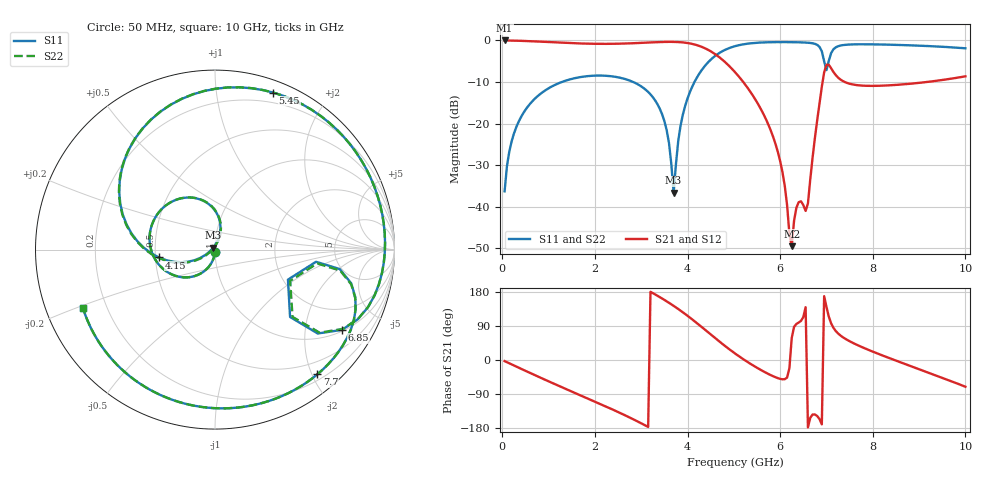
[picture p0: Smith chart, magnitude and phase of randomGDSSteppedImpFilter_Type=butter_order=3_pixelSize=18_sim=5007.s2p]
! freq	dB(S11)	phase(S11)	dB(S12)	phase(S12)
!  dB(S21)	phase(S21)	dB(S22)	phase(S22)
!S-par simulation data
#  GHz  S  DB  R 50
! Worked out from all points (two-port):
!   200 points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, 50 MHz to 10 GHz, reference 50 ohm
!   highest |S21| = 0.00 dB at 50 MHz (marker M1); lowest = -49.5 dB at 6.25 GHz (marker M2)
!   |S21| within 3 dB of the highest: start of sweep to 4.557 GHz
!   lowest |S11| = -36.6 dB at 3.7 GHz (marker M3), VSWR 1.03, Z = 48.9 + j0.986 ohm
!   |S11| at or under -10 dB: start of sweep to 1.285 GHz; 2.827 GHz to 4.15 GHz (1.323 GHz wide, 37.9 % of centre)
!   |S22| runs from -38.7 to -0.4 dB; largest |S21 - S12| = 0
!   S11 on the Smith chart (normalised r, x): 50 MHz: 1.00, -0.03; 4.15 GHz: 0.52, -0.05; 5.45 GHz: 0.11, +1.43; 6.85 GHz: 1.05, -3.13; 7.7 GHz: 0.29, -2.08; 10 GHz: 0.11, -0.21
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0.05  -36.29 -92.7  -0.00 -2.9  -0.00 -2.9  -36.29 -92.7
0.2  -24.35 -101.7  -0.03 -11.5  -0.03 -11.5  -24.35 -101.7
0.5  -16.69 -119.1  -0.13 -28.6  -0.13 -28.6  -16.69 -119.1
1.75  -8.71 172.9  -0.75 -96.5  -0.75 -96.5  -8.71 172.8
3.4  -16.41 79.1  -0.39 166.0  -0.39 166.0  -16.42 78.1
3.6  -24.70 73.0  -0.34 150.9  -0.34 150.9  -24.80 70.0
3.7  -36.65 136.8  -0.35 142.9  -0.35 142.9  -38.73 135.1
3.85  -20.47 -150.5  -0.43 130.2  -0.43 130.2  -20.51 -148.4
4.15  -10.00 -172.1  -0.97 102.5  -0.97 102.5  -10.01 -171.4
4.6  -3.69 144.3  -3.32 57.5  -3.32 57.5  -3.70 144.7
5.05  -1.30 102.2  -7.93 15.1  -7.93 15.1  -1.30 102.4
5.45  -0.60 69.7  -13.95 -16.9  -13.95 -16.9  -0.60 69.9
6  -0.40 31.3  -29.03 -49.8  -29.03 -49.8  -0.40 31.5
6.25  -0.42 15.1  -49.49 58.1  -49.49 58.1  -0.41 15.3
6.35  -0.43 8.7  -40.27 95.1  -40.27 95.1  -0.43 8.9
6.6  -0.55 -8.3  -39.22 -177.8  -39.22 -177.8  -0.54 -8.0
6.7  -0.68 -16.2  -28.20 -143.9  -28.20 -143.9  -0.67 -15.9
6.85  -1.55 -32.3  -15.08 -156.0  -15.08 -156.0  -1.52 -31.7
7.05  -4.93 -6.9  -5.84 114.7  -5.84 114.7  -4.81 -7.7
7.7  -0.93 -50.6  -10.80 37.6  -10.80 37.6  -0.92 -50.7
8.35  -1.02 -81.6  -10.80 5.4  -10.80 5.4  -1.02 -81.6
10  -1.89 -156.3  -8.63 -70.6  -8.63 -70.6  -1.89 -156.1
